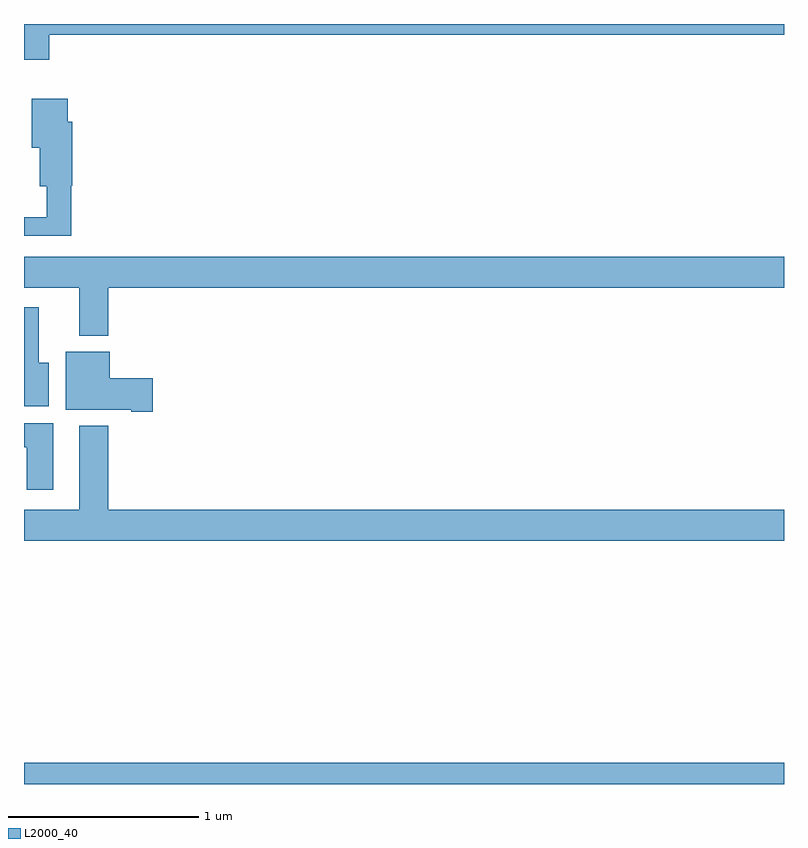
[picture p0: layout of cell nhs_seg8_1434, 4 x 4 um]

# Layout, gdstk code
import gdstk
lib = gdstk.Library(unit=1e-6, precision=1e-09)
def R(c, l, rs):  # rectangles x0, y0, x1, y1
    for r in rs: c.add(gdstk.rectangle(r[:2], r[2:], *l))
def P(c, l, *ps):  # polygons
    for p in ps: c.add(gdstk.Polygon(p, *l))
L2000_40 = (2000, 40)

nhs_seg8_1434 = lib.new_cell('nhs_seg8_1434')
R(nhs_seg8_1434, L2000_40, [(203,1101.9,207,1102.012)])
P(nhs_seg8_1434, L2000_40, [(203.132,1105.844),(207,1105.844),(207,1105.9),(203,1105.9),(203,1105.713),(203.132,1105.713)],
  [(203.249,1105.05),(203.255,1105.05),(203.255,1105.386),(203.23,1105.386),(203.23,1105.507),(203.042,1105.507),(203.042,1105.25),(203.084,1105.25),(203.084,1105.046),(203.121,1105.046),(203.121,1104.883),(203,1104.883),(203,1104.786),(203.249,1104.786)],
  [(203.444,1104.512),(207,1104.512),(207,1104.676),(203,1104.676),(203,1104.512),(203.291,1104.512),(203.291,1104.26),(203.444,1104.26)],
  [(203.131,1104.118),(203.077,1104.118),(203.077,1104.409),(203,1104.409),(203,1103.888),(203.131,1103.888)],
  [(203.677,1104.036),(203.452,1104.036),(203.452,1104.175),(203.219,1104.175),(203.219,1103.87),(203.564,1103.87),(203.564,1103.858),(203.677,1103.858)],
  [(203.155,1103.8),(203,1103.8),(203,1103.672),(203.015,1103.672),(203.015,1103.448),(203.155,1103.448)],
  [(207,1103.344),(203.444,1103.344),(203.444,1103.785),(203.291,1103.785),(203.291,1103.344),(203,1103.344),(203,1103.18),(207,1103.18)])

lib.write_gds('nhs_seg8_1434.gds')
